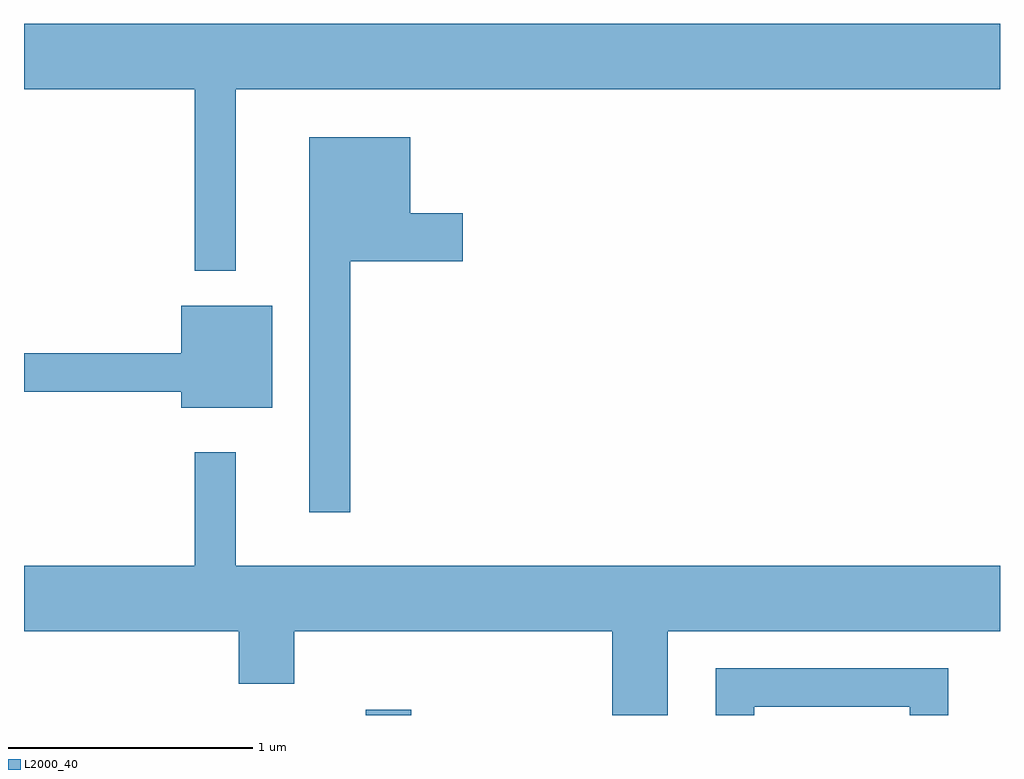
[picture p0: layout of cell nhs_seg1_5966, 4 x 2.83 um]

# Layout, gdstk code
import gdstk
lib = gdstk.Library(unit=1e-6, precision=1e-09)
def R(c, l, rs):  # rectangles x0, y0, x1, y1
    for r in rs: c.add(gdstk.rectangle(r[:2], r[2:], *l))
def P(c, l, *ps):  # polygons
    for p in ps: c.add(gdstk.Polygon(p, *l))
L2000_40 = (2000, 40)

nhs_seg1_5966 = lib.new_cell('nhs_seg1_5966')
R(nhs_seg1_5966, L2000_40, [(367.011,863.712,367.199,863.734)])
P(nhs_seg1_5966, L2000_40, [(366.479,866.276),(369.611,866.276),(369.611,866.544),(365.611,866.544),(365.611,866.276),(366.311,866.276),(366.311,865.533),(366.479,865.533)],
  [(366.949,865.571),(367.409,865.571),(367.409,865.769),(367.194,865.769),(367.194,866.079),(366.781,866.079),(366.781,864.543),(366.949,864.543)],
  [(366.629,865.389),(366.256,865.389),(366.256,865.194),(365.611,865.194),(365.611,865.036),(366.256,865.036),(366.256,864.971),(366.629,864.971)],
  [(368.249,864.056),(369.611,864.056),(369.611,864.324),(366.479,864.324),(366.479,864.788),(366.311,864.788),(366.311,864.324),(365.611,864.324),(365.611,864.056),(366.491,864.056),(366.491,863.841),(366.719,863.841),(366.719,864.056),(368.021,864.056),(368.021,863.712),(368.249,863.712)],
  [(368.604,863.746),(369.241,863.746),(369.241,863.712),(369.399,863.712),(369.399,863.904),(368.446,863.904),(368.446,863.712),(368.604,863.712)])

lib.write_gds('nhs_seg1_5966.gds')
